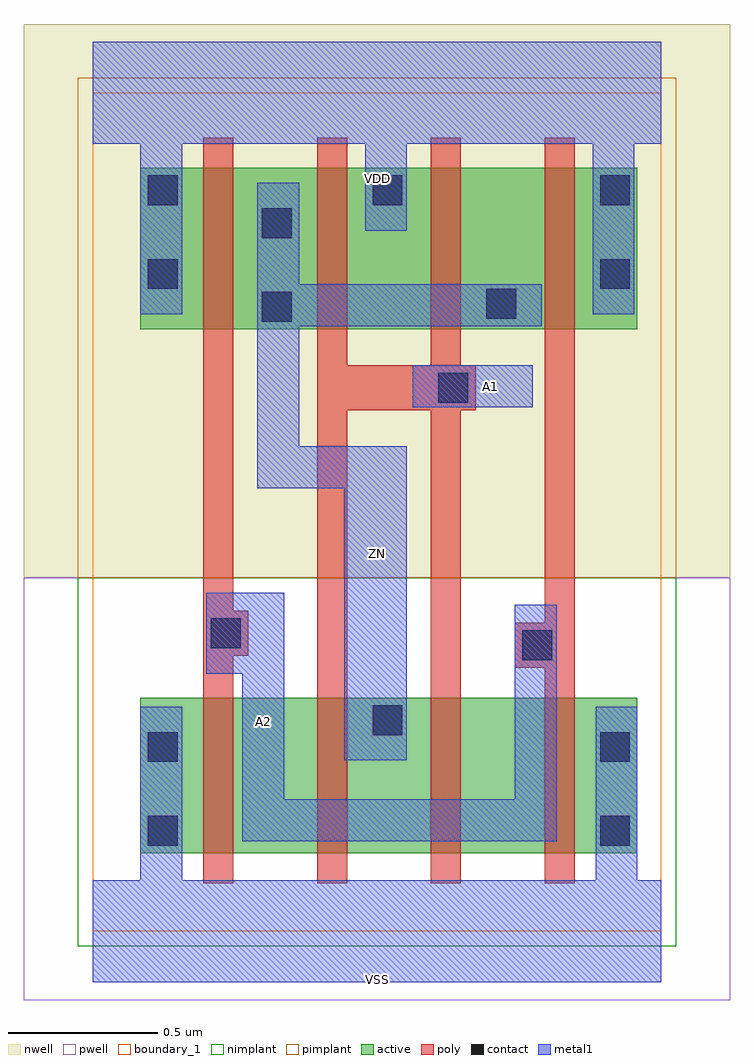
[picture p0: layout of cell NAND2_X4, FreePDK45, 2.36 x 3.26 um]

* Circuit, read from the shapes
.subckt NAND2_X4 A1 A2 VDD VSS ZN
M1 n1 A2 VSS VSUBS nfet w=0.52u l=0.1u
M2 ZN A1 n1 VSUBS nfet w=0.52u l=0.1u
M3 n2 A1 ZN VSUBS nfet w=0.52u l=0.1u
M4 VSS A2 n2 VSUBS nfet w=0.52u l=0.1u
M5 ZN A2 VDD n3 pfet w=0.54u l=0.1u m=2
M6 VDD A1 ZN n3 pfet w=0.54u l=0.1u m=2
.ends

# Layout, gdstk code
import gdstk
lib = gdstk.Library(unit=1e-6, precision=1e-09)
def R(c, l, rs):  # rectangles x0, y0, x1, y1
    for r in rs: c.add(gdstk.rectangle(r[:2], r[2:], *l))
def P(c, l, *ps):  # polygons
    for p in ps: c.add(gdstk.Polygon(p, *l))
active = (1, 0)
pwell = (2, 0)
nwell = (3, 0)
nimplant = (4, 0)
pimplant = (5, 0)
poly = (9, 0)
contact = (10, 0)
metal1 = (11, 0)
boundary_1 = (235, 1)

nand2_x4 = lib.new_cell('NAND2_X4')
R(nand2_x4, active, [(0.16,0.26,1.82,0.78), (0.16,2.01,1.82,2.55)])
R(nand2_x4, pwell, [(-0.23,-0.23,2.13,1.18)])
R(nand2_x4, nwell, [(-0.23,1.18,2.13,3.03)])
R(nand2_x4, nimplant, [(-0.05,-0.05,1.95,1.18)])
R(nand2_x4, pimplant, [(-0.05,1.18,1.95,2.85)])
P(nand2_x4, poly, [(1.41,0.88),(1.51,0.88),(1.51,0.16),(1.61,0.16),(1.61,2.65),(1.51,2.65),(1.51,1.03),(1.41,1.03)],
  [(0.75,0.16),(0.85,0.16),(0.85,1.74),(1.13,1.74),(1.13,0.16),(1.23,0.16),(1.23,1.74),(1.28,1.74),(1.28,1.89),(1.23,1.89),(1.23,2.65),(1.13,2.65),(1.13,1.89),(0.85,1.89),(0.85,2.65),(0.75,2.65)],
  [(0.37,0.16),(0.47,0.16),(0.47,0.92),(0.52,0.92),(0.52,1.07),(0.47,1.07),(0.47,2.65),(0.37,2.65)])
R(nand2_x4, contact, [(0.185,0.285,0.285,0.385), (1.695,0.285,1.795,0.385), (0.185,0.565,0.285,0.665), (1.695,0.565,1.795,0.665), (0.935,0.655,1.035,0.755), (1.435,0.905,1.535,1.005), (0.395,0.945,0.495,1.045), (1.155,1.765,1.255,1.865), (0.565,2.035,0.665,2.135), (1.315,2.045,1.415,2.145), (0.185,2.145,0.285,2.245), (1.695,2.145,1.795,2.245), (0.565,2.315,0.665,2.415), (0.185,2.425,0.285,2.525), (0.935,2.425,1.035,2.525), (1.695,2.425,1.795,2.525)])
R(nand2_x4, metal1, [(1.07,1.75,1.47,1.89), (1.07,1.75,1.47,1.89)])
P(nand2_x4, metal1, [(0.69,2.02),(1.5,2.02),(1.5,2.16),(0.69,2.16),(0.69,2.5),(0.55,2.5),(0.55,1.48),(0.84,1.48),(0.84,0.57),(1.05,0.57),(1.05,1.62),(0.69,1.62)],
  [(0.38,0.86),(0.5,0.86),(0.5,0.3),(1.55,0.3),(1.55,1.09),(1.41,1.09),(1.41,0.44),(0.64,0.44),(0.64,1.13),(0.38,1.13)],
  [(0,-0.17),(1.9,-0.17),(1.9,0.17),(1.82,0.17),(1.82,0.75),(1.68,0.75),(1.68,0.17),(0.3,0.17),(0.3,0.75),(0.16,0.75),(0.16,0.17),(0,0.17)],
  [(0,2.63),(0.16,2.63),(0.16,2.06),(0.3,2.06),(0.3,2.63),(0.91,2.63),(0.91,2.34),(1.05,2.34),(1.05,2.63),(1.67,2.63),(1.67,2.06),(1.81,2.06),(1.81,2.63),(1.9,2.63),(1.9,2.97),(0,2.97)],
  [(0,2.63),(0.16,2.63),(0.16,2.06),(0.3,2.06),(0.3,2.63),(0.91,2.63),(0.91,2.34),(1.05,2.34),(1.05,2.63),(1.67,2.63),(1.67,2.06),(1.81,2.06),(1.81,2.63),(1.9,2.63),(1.9,2.97),(0,2.97)],
  [(0,-0.17),(1.9,-0.17),(1.9,0.17),(1.82,0.17),(1.82,0.75),(1.68,0.75),(1.68,0.17),(0.3,0.17),(0.3,0.75),(0.16,0.75),(0.16,0.17),(0,0.17)],
  [(0.38,0.86),(0.5,0.86),(0.5,0.3),(1.55,0.3),(1.55,1.09),(1.41,1.09),(1.41,0.44),(0.64,0.44),(0.64,1.13),(0.38,1.13)],
  [(0.69,2.02),(1.5,2.02),(1.5,2.16),(0.69,2.16),(0.69,2.5),(0.55,2.5),(0.55,1.48),(0.84,1.48),(0.84,0.57),(1.05,0.57),(1.05,1.62),(0.69,1.62)])
R(nand2_x4, boundary_1, [(0,0,1.9,2.8)])
nand2_x4.add(gdstk.Label('ZN', (0.95,1.26), layer=11, texttype=0))
nand2_x4.add(gdstk.Label('VSS', (0.95,-0.16), layer=11, texttype=0))
nand2_x4.add(gdstk.Label('VDD', (0.95,2.515), layer=11, texttype=0))
nand2_x4.add(gdstk.Label('A2', (0.57,0.7), layer=11, texttype=0))
nand2_x4.add(gdstk.Label('A1', (1.33,1.82), layer=11, texttype=0))

lib.write_gds('NAND2_X4.gds')
